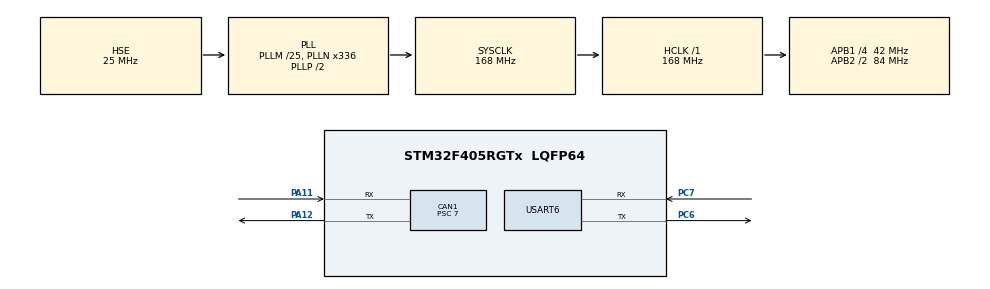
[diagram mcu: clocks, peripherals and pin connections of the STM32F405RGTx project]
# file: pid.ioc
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CAN1.BS1=CAN_BS1_2TQ
CAN1.BS2=CAN_BS2_3TQ
CAN1.CalculateBaudRate=999999
CAN1.CalculateTimeBit=1000
CAN1.CalculateTimeQuantum=166.66666666666669
CAN1.Prescaler=7
FREERTOS.Tasks01=defaultTask,24,128,StartDefaultTask,Default,NULL,Dynamic,NULL,NULL;myTask01,8,128,StartTask01,Default,NULL,Dynamic,NULL,NULL
Mcu.Family=STM32F4
Mcu.Name=STM32F405RGTx
Mcu.Package=LQFP64
NVIC.CAN1_RX0_IRQn=true\:5\:0\:false\:false\:true\:true\:true\:true\:true
NVIC.PriorityGroup=NVIC_PRIORITYGROUP_4
NVIC.TIM1_UP_TIM10_IRQn=true\:15\:0\:false\:false\:true\:false\:false\:true\:true
NVIC.TimeBase=TIM1_UP_TIM10_IRQn
NVIC.TimeBaseIP=TIM1
PA11.Mode=CAN_Activate
PA11.Signal=CAN1_RX
PA12.Mode=CAN_Activate
PA12.Signal=CAN1_TX
PA13.Mode=Serial_Wire
PA13.Signal=SYS_JTMS-SWDIO
PA14.Mode=Serial_Wire
PA14.Signal=SYS_JTCK-SWCLK
PC14-OSC32_IN.Mode=LSE-External-Oscillator
PC14-OSC32_IN.Signal=RCC_OSC32_IN
PC15-OSC32_OUT.Mode=LSE-External-Oscillator
PC15-OSC32_OUT.Signal=RCC_OSC32_OUT
PC6.Mode=Asynchronous
PC6.Signal=USART6_TX
PC7.Mode=Asynchronous
PC7.Signal=USART6_RX
PH0-OSC_IN.Mode=HSE-External-Oscillator
PH0-OSC_IN.Signal=RCC_OSC_IN
PH1-OSC_OUT.Mode=HSE-External-Oscillator
PH1-OSC_OUT.Signal=RCC_OSC_OUT
ProjectManager.HeapSize=0x200
ProjectManager.StackSize=0x400
ProjectManager.TargetToolchain=MDK-ARM V5.32
RCC.48MHZClocksFreq_Value=84000000
RCC.AHBFreq_Value=168000000
RCC.APB1CLKDivider=RCC_HCLK_DIV4
RCC.APB1Freq_Value=42000000
RCC.APB1TimFreq_Value=84000000
RCC.APB2CLKDivider=RCC_HCLK_DIV2
RCC.APB2Freq_Value=84000000
RCC.APB2TimFreq_Value=168000000
RCC.CortexFreq_Value=168000000
RCC.HCLKFreq_Value=168000000
RCC.HSE_VALUE=25000000
RCC.HSI_VALUE=16000000
RCC.PLLM=25
RCC.PLLN=336
RCC.PLLSourceVirtual=RCC_PLLSOURCE_HSE
RCC.SYSCLKFreq_VALUE=168000000
RCC.SYSCLKSource=RCC_SYSCLKSOURCE_PLLCLK
RCC.VCOOutputFreq_Value=336000000
USART6.VirtualMode=VM_ASYNC
VP_FREERTOS_VS_CMSIS_V2.Mode=CMSIS_V2
VP_SYS_VS_tim1.Mode=TIM1
board=custom

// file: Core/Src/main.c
/* USER CODE BEGIN Header */
/**
  ******************************************************************************
  * @file           : main.c
  * @brief          : Main program body
  ******************************************************************************
  * @attention
  *
  * Copyright (c) 2024 STMicroelectronics.
  * All rights reserved.
  *
  * This software is licensed under terms that can be found in the LICENSE file
  * in the root directory of this software component.
  * If no LICENSE file comes with this software, it is provided AS-IS.
  *
  ******************************************************************************
  */
/* USER CODE END Header */
#include "main.h"
#include "cmsis_os.h"
#include "can.h"
#include "usart.h"
#include "gpio.h"

/* USER CODE BEGIN Includes */
#include "pid.h"

/* USER CODE END Includes */

/* USER CODE BEGIN PV */

//extern pid_struct_t motor_pid_Single;

/* USER CODE END PV */

void SystemClock_Config(void);
void MX_FREERTOS_Init(void);

int main(void)
{

  /* MCU Configuration--------------------------------------------------------*/

  /* Reset of all peripherals, Initializes the Flash interface and the Systick. */
  HAL_Init();

  /* Configure the system clock */
  SystemClock_Config();

  /* Initialize all configured peripherals */
  MX_GPIO_Init();
  MX_CAN1_Init();
  MX_USART6_UART_Init();

  /* Init scheduler */
  osKernelInitialize();

  /* Call init function for freertos objects (in cmsis_os2.c) */
  MX_FREERTOS_Init();

  /* Start scheduler */
  osKernelStart();

  /* We should never get here as control is now taken by the scheduler */

  /* Infinite loop */
  while (1)
  {

  }
}

void SystemClock_Config(void)
{
  RCC_OscInitTypeDef RCC_OscInitStruct = {0};
  RCC_ClkInitTypeDef RCC_ClkInitStruct = {0};

  /** Configure the main internal regulator output voltage
  */
  __HAL_RCC_PWR_CLK_ENABLE();
  __HAL_PWR_VOLTAGESCALING_CONFIG(PWR_REGULATOR_VOLTAGE_SCALE1);

  /** Initializes the RCC Oscillators according to the specified parameters
  * in the RCC_OscInitTypeDef structure.
  */
  RCC_OscInitStruct.OscillatorType = RCC_OSCILLATORTYPE_HSE;
  RCC_OscInitStruct.HSEState = RCC_HSE_ON;
  RCC_OscInitStruct.PLL.PLLState = RCC_PLL_ON;
  RCC_OscInitStruct.PLL.PLLSource = RCC_PLLSOURCE_HSE;
  RCC_OscInitStruct.PLL.PLLM = 25;
  RCC_OscInitStruct.PLL.PLLN = 336;
  RCC_OscInitStruct.PLL.PLLP = RCC_PLLP_DIV2;
  RCC_OscInitStruct.PLL.PLLQ = 4;
  if (HAL_RCC_OscConfig(&RCC_OscInitStruct) != HAL_OK)
  {
    Error_Handler();
  }

  /** Initializes the CPU, AHB and APB buses clocks
  */
  RCC_ClkInitStruct.ClockType = RCC_CLOCKTYPE_HCLK|RCC_CLOCKTYPE_SYSCLK
                              |RCC_CLOCKTYPE_PCLK1|RCC_CLOCKTYPE_PCLK2;
  RCC_ClkInitStruct.SYSCLKSource = RCC_SYSCLKSOURCE_PLLCLK;
  RCC_ClkInitStruct.AHBCLKDivider = RCC_SYSCLK_DIV1;
  RCC_ClkInitStruct.APB1CLKDivider = RCC_HCLK_DIV4;
  RCC_ClkInitStruct.APB2CLKDivider = RCC_HCLK_DIV2;

  if (HAL_RCC_ClockConfig(&RCC_ClkInitStruct, FLASH_LATENCY_5) != HAL_OK)
  {
    Error_Handler();
  }
}

void HAL_TIM_PeriodElapsedCallback(TIM_HandleTypeDef *htim)
{
  if (htim->Instance == TIM1) {
    HAL_IncTick();
  }
}

void Error_Handler(void)
{
  __disable_irq();
  while (1)
  {
  }
}

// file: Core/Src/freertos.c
/* USER CODE BEGIN Header */
/**
  ******************************************************************************
  * File Name          : freertos.c
  * Description        : Code for freertos applications
  ******************************************************************************
  * @attention
  *
  * Copyright (c) 2024 STMicroelectronics.
  * All rights reserved.
  *
  * This software is licensed under terms that can be found in the LICENSE file
  * in the root directory of this software component.
  * If no LICENSE file comes with this software, it is provided AS-IS.
  *
  ******************************************************************************
  */
/* USER CODE END Header */

#include "FreeRTOS.h"
#include "task.h"
#include "main.h"
#include "cmsis_os.h"

/* USER CODE BEGIN Includes */
#include "can.h"
#include "pid.h"
#include "usart.h"
#include <stdio.h>

//速度环（单级�?
pid_struct_t motor_pid_Single;//定义单个pid结构�?
float speedTarget = 300;//速度目标位置（单级）(0-380rpm左右)

//角度环（串级�?
pid_Cascade_t motor_pid_Cas;//定义串级pid结构�?
float angleTarget = 90;//角度目标位置（串级）

float Rotor_angle;

#define ANGLE//SPEED or ANGLE or OPEN

/* USER CODE END Includes */

/* Definitions for defaultTask */
osThreadId_t defaultTaskHandle;
const osThreadAttr_t defaultTask_attributes = {
  .name = "defaultTask",
  .stack_size = 128 * 4,
  .priority = (osPriority_t) osPriorityNormal,
};
/* Definitions for myTask01 */
osThreadId_t myTask01Handle;
const osThreadAttr_t myTask01_attributes = {
  .name = "myTask01",
  .stack_size = 128 * 4,
  .priority = (osPriority_t) osPriorityLow,
};

void StartDefaultTask(void *argument);
void StartTask01(void *argument);

void MX_FREERTOS_Init(void); /* (MISRA C 2004 rule 8.1) */

void MX_FREERTOS_Init(void) {

  /* Create the thread(s) */
  /* creation of defaultTask */
  defaultTaskHandle = osThreadNew(StartDefaultTask, NULL, &defaultTask_attributes);

  /* creation of myTask01 */
  myTask01Handle = osThreadNew(StartTask01, NULL, &myTask01_attributes);

}

void StartDefaultTask(void *argument)
{
  /* USER CODE BEGIN StartDefaultTask */
  /* Infinite loop */
  for(;;)
  {
    vTaskDelete(NULL);
  }
  /* USER CODE END StartDefaultTask */
}

void StartTask01(void *argument)
{
  /* USER CODE BEGIN StartTask01 */
    Configure_Filter();

    #ifdef SPEED
    pid_init(&motor_pid_Single,40,3,0,25000,25000);
    #endif

    #ifdef ANGLE
    pid_init(&motor_pid_Cas.inner, 40, 0, 0, 500, 25000);
    pid_init(&motor_pid_Cas.outer, 5, 0, 0, 500, 10000);
    motor_info.c_Init = 0;
    motor_info.round_cnt = 0;
    #endif

  /* Infinite loop */
  for(;;)
  {
#ifdef OPEN //�?环控�?
      CAN_Transmit(25000);//[-25000,25000]
#endif

#ifdef SPEED//速度单闭环控�?
      /*open loop control*/
      int16_t set_voltage = pid_calc(&motor_pid_Single, speedTarget, motor_info.rotor_speed);
      CAN_Transmit(set_voltage);
      printf("speed: %d,%f\n",motor_info.rotor_speed,speedTarget);
#endif

#ifdef ANGLE//角度双闭环控�?
    /*closed loop control*/
      Rotor_angle = (motor_info.total_encoder *360)/8192;//将编码器刻度换成角度
      int16_t set_voltage = pid_CascadeCalc(&motor_pid_Cas,angleTarget,Rotor_angle,motor_info.rotor_speed);
      CAN_Transmit(set_voltage);
      printf("angle: %f,%f\n",Rotor_angle,angleTarget);
#endif

//    printf("angle: %f,%f\n",Rotor_angle,angleTarget);
//    printf("rotor_speed        : %d\n\n",motor_info.rotor_speed);
//    printf("torque_current     : %d\n\n\n",motor_info.torque_current);

    vTaskDelay(1);
  }
  /* USER CODE END StartTask01 */
}
